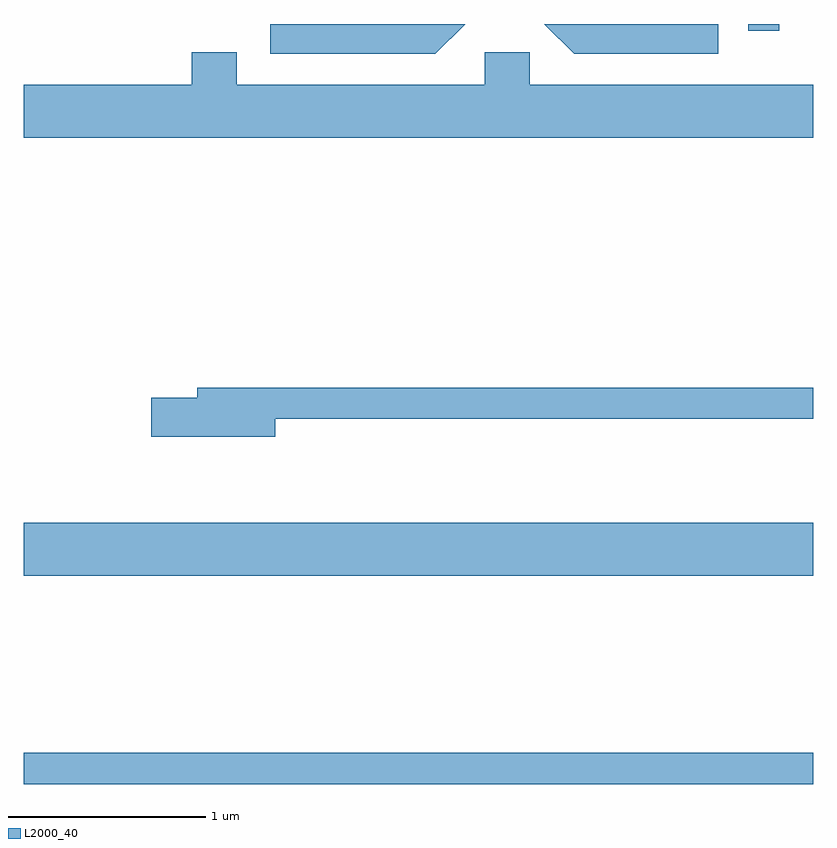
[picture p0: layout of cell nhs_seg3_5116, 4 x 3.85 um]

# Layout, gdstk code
import gdstk
lib = gdstk.Library(unit=1e-6, precision=1e-09)
def R(c, l, rs):  # rectangles x0, y0, x1, y1
    for r in rs: c.add(gdstk.rectangle(r[:2], r[2:], *l))
def P(c, l, *ps):  # polygons
    for p in ps: c.add(gdstk.Polygon(p, *l))
L2000_40 = (2000, 40)

nhs_seg3_5116 = lib.new_cell('nhs_seg3_5116')
R(nhs_seg3_5116, L2000_40, [(335.611,1156.041,339.611,1156.199), (335.611,1157.096,339.611,1157.364), (339.281,1159.858,339.439,1159.892)])
P(nhs_seg3_5116, L2000_40, [(337.848,1159.892),(336.861,1159.892),(336.861,1159.741),(337.697,1159.741)],
  [(339.129,1159.892),(338.248,1159.892),(338.399,1159.741),(339.129,1159.741)],
  [(339.611,1159.584),(338.174,1159.584),(338.174,1159.749),(337.946,1159.749),(337.946,1159.584),(336.689,1159.584),(336.689,1159.749),(336.461,1159.749),(336.461,1159.584),(335.611,1159.584),(335.611,1159.316),(339.611,1159.316)],
  [(336.884,1157.891),(339.611,1157.891),(339.611,1158.049),(336.491,1158.049),(336.491,1157.999),(336.256,1157.999),(336.256,1157.801),(336.884,1157.801)])

lib.write_gds('nhs_seg3_5116.gds')
